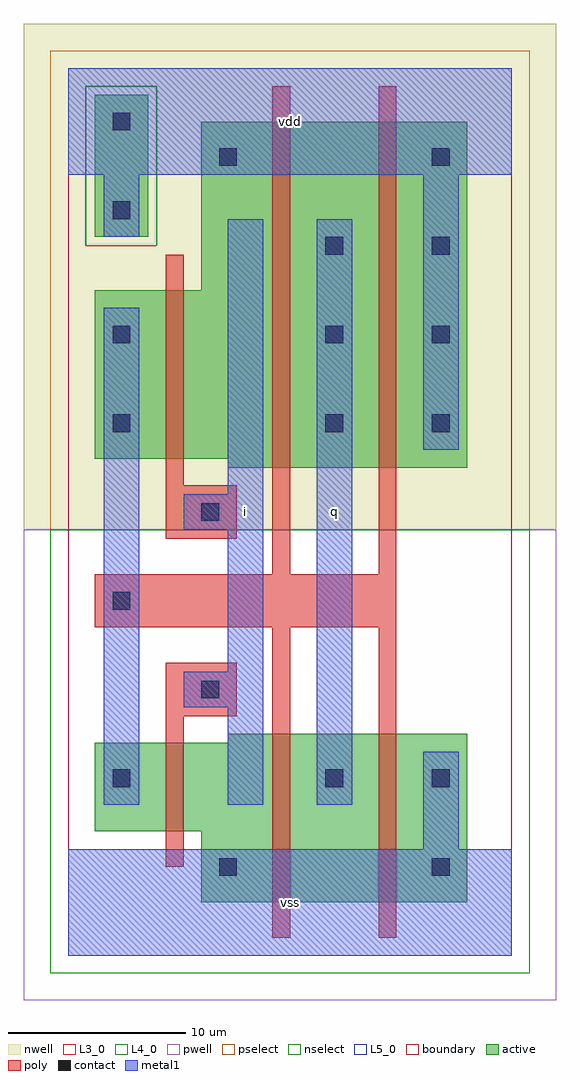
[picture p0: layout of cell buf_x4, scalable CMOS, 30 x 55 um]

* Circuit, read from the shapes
.subckt buf_x4 i q vdd vss
M1 vss i n1 VSUBS nfet w=5u l=1u
M2 q n1 vss VSUBS nfet w=9.5u l=1u m=2
M3 vdd i n1 vdd pfet w=9.5u l=1u
M4 q n1 vdd vdd pfet w=19.5u l=1u m=2
.ends

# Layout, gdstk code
import gdstk
lib = gdstk.Library(unit=1e-6, precision=1e-09)
def R(c, l, rs):  # rectangles x0, y0, x1, y1
    for r in rs: c.add(gdstk.rectangle(r[:2], r[2:], *l))
def A(c, l, x, y, w, h, nx, ny, dx, dy):  # array of equal rectangles
    R(c, l, [(x+i*dx, y+j*dy, x+i*dx+w, y+j*dy+h) for i in range(nx) for j in range(ny)])
L3_0 = (3, 0)
L4_0 = (4, 0)
L5_0 = (5, 0)
contact = (25, 0)
pwell = (41, 0)
nwell = (42, 0)
active = (43, 0)
pselect = (44, 0)
nselect = (45, 0)
poly = (46, 0)
metal1 = (49, 0)
boundary = (63, 0)

buf_x4 = lib.new_cell('buf_x4')
R(buf_x4, L3_0, [(7.5,3,22.5,7), (1.5,7,22.5,12), (9,12,22.5,12.5)])
R(buf_x4, L4_0, [(9,27.5,22.5,28), (1.5,28,22.5,37.5), (7.5,37.5,22.5,47)])
R(buf_x4, L5_0, [(1.5,40.5,4.5,48.5)])
A(buf_x4, contact, 2.5, 9.5, 1, 1, 1, 3, 0, 10)
A(buf_x4, contact, 14.5, 29.5, 1, 1, 1, 3, 0, 5)
A(buf_x4, contact, 20.5, 29.5, 1, 1, 1, 4, 0, 5)
R(buf_x4, contact, [(8.5,4.5,9.5,5.5), (20.5,4.5,21.5,5.5), (14.5,9.5,15.5,10.5), (20.5,9.5,21.5,10.5), (7.5,14.5,8.5,15.5), (7.5,24.5,8.5,25.5), (2.5,34.5,3.5,35.5), (2.5,41.5,3.5,42.5), (8.5,44.5,9.5,45.5), (2.5,46.5,3.5,47.5)])
R(buf_x4, pwell, [(-2.5,-2.5,27.5,24)])
R(buf_x4, nwell, [(-2.5,24,27.5,52.5)])
R(buf_x4, active, [(7.5,3,22.5,7), (1.5,7,22.5,12), (9,12,22.5,12.5), (9,27.5,22.5,28), (1.5,28,22.5,37.5), (7.5,37.5,22.5,47), (1.5,40.5,4.5,48.5)])
R(buf_x4, pselect, [(-1,24,26,40), (-1,40,1,49), (5,40,26,49), (-1,49,26,51)])
R(buf_x4, nselect, [(-1,-1,26,24), (1,40,5,49)])
R(buf_x4, poly, [(11.5,1,12.5,18.5), (17.5,1,18.5,18.5), (5.5,5,6.5,13.5), (5.5,13.5,9.5,16.5), (1.5,18.5,18.5,21.5), (11.5,21.5,12.5,49), (17.5,21.5,18.5,49), (5.5,23.5,9.5,26.5), (5.5,26.5,6.5,39.5)])
R(buf_x4, metal1, [(0,0,25,6), (0,0,25,6), (20,6,22,11.5), (20,6,22,11.5), (2,8.5,4,36.5), (2,8.5,4,36.5), (9,8.5,11,14), (9,8.5,11,14), (14,8.5,16,41.5), (14,8.5,16,41.5), (6.5,14,11,16), (6.5,14,11,16), (9,16,11,24), (9,16,11,24), (6.5,24,11,26), (6.5,24,11,26), (9,26,11,41.5), (9,26,11,41.5), (20,28.5,22,44), (20,28.5,22,44), (2,40.5,4,44), (2,40.5,4,44), (0,44,25,50), (0,44,25,50)])
R(buf_x4, boundary, [(0,0,25,50)])
buf_x4.add(gdstk.Label('vss', (12.5,3), layer=49, texttype=0))
buf_x4.add(gdstk.Label('q', (15,25), layer=49, texttype=0))
buf_x4.add(gdstk.Label('i', (10,25), layer=49, texttype=0))
buf_x4.add(gdstk.Label('vdd', (12.5,47), layer=49, texttype=0))

lib.write_gds('buf_x4.gds')
